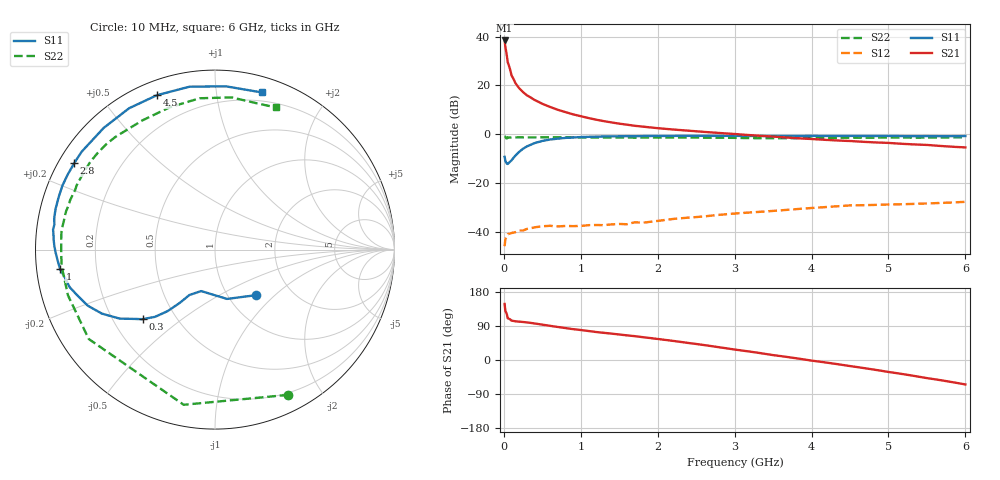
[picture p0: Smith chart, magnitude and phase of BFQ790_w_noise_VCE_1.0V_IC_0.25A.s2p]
! Infineon Technologies  Discrete & RF Semiconductors
! BFQ790
! VCE =  1.0 V,  IC = 0.25 A
! Common Emitter S-Parameters:  May 2015
# GHz  S  MA  R  50
!  f  S11  S21  S12  S22
! GHz  MAG  ANG  MAG  ANG  MAG  ANG  MAG  ANG
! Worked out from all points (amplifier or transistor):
!   77 points, 10 MHz to 6 GHz, reference 50 ohm
!   highest |S21| = 38.5 dB at 10 MHz (marker M1)
!   |S21| within 3 dB of that: start of sweep to 21.58 MHz
!   unconditionally stable (mu >= 1): 191.1 MHz to end of sweep
!   at 130 MHz: K = 0.83, MSG = 31.4 dB, |S12| = -40.4 dB
!   at 2.2 GHz: K = 1.35, MAG = 14.8 dB, |S12| = -34.8 dB
!   at 6 GHz: K = 1.17, MAG = 8.7 dB, |S12| = -27.8 dB
!   lowest NFmin = 3.72 dB at 1.5 GHz
!   S11 on the Smith chart (normalised r, x): 10 MHz: 1.34, -0.77; 300 MHz: 0.32, -0.37; 1 GHz: 0.07, -0.06; 2.8 GHz: 0.04, +0.28; 4.5 GHz: 0.06, +0.69; 6 GHz: 0.13, +1.33
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0.01  0.3417 -48.0  83.83 148.1  0.005 58.1  0.9067 -63.2
0.02  0.2828 -76.3  61.2 129.2  0.007 38.5  0.882 -101.4
0.05  0.2437 -108.5  30.11 110.2  0.0088 20.7  0.8619 -144.7
0.1  0.2896 -119.3  16.02 103.8  0.0093 15.4  0.8578 -162.7
0.15  0.3608 -123.8  11.16 102.1  0.0097 14.8  0.8551 -169.9
0.2  0.4327 -127.6  8.73 101.2  0.0105 16.6  0.8593 -173.7
0.25  0.5015 -131.7  7.275 100.3  0.0105 15.0  0.8575 -176.3
0.3  0.5588 -136.1  6.266 99.2  0.0113 13.9  0.8572 -178.5
0.4  0.6546 -144.0  5.019 96.3  0.0122 13.5  0.8572 178.3
0.5  0.7242 -150.5  4.195 93.3  0.0128 10.7  0.8588 175.9
0.6  0.7745 -156.2  3.62 90.2  0.0131 12.7  0.861 173.7
0.8  0.8364 -165.5  2.833 84.3  0.013 12.9  0.8581 170.1
1  0.8699 -172.8  2.333 79.1  0.013 13.1  0.8572 166.8
1.1  0.879 -176.1  2.139 76.5  0.0135 14.2  0.8563 165.3
1.5  0.9036 174.8  1.64 67.3  0.0143 14.5  0.8505 159.7
2.1  0.9172 163.5  1.283 53.0  0.0173 17.3  0.8481 150.6
2.8  0.9204 148.4  1.056 33.6  0.022 9.6  0.8437 136.0
3.1  0.9183 141.5  0.978 24.9  0.024 6.7  0.8326 129.1
4.1  0.9185 119.2  0.776 -4.3  0.0311 -9.0  0.832 105.3
4.5  0.919 110.6  0.722 -16.0  0.0344 -17.0  0.8475 95.8
5.1  0.9137 96.4  0.644 -34.5  0.0361 -30.8  0.8499 81.7
6  0.9135 73.5  0.534 -64.5  0.0407 -52.1  0.862 66.7
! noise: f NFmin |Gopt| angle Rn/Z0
0.45  6.14  0.5  143  0.6
0.9  4.32  0.63  168  0.19
1.5  3.72  0.73  -171  0.1
1.8  3.74  0.74  -167  0.12
2.6  3.94  0.76  -151  0.32
3.5  4.4  0.85  -134  0.67
